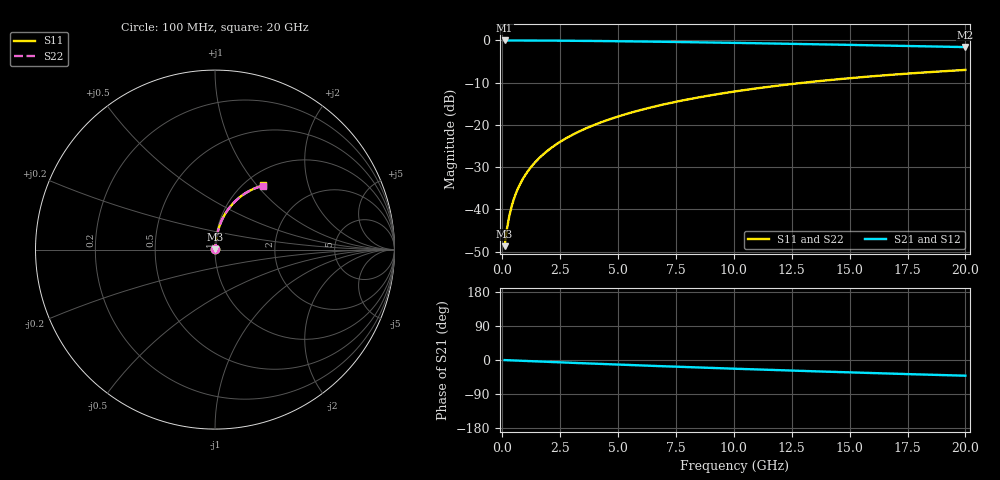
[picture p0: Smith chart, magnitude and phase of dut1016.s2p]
! Touchstone file exported from HFSS 2024.1.0
!  File:  C:/UserFiles/LocalFiles/RDL_TSV_Batchsim/temp_RDL_top_1016_1780043025.aedt
!  Generated:  04:26:18 PM May 29, 2026
!  Design:  RDL_top
!  Project:  temp_RDL_top_1016_1780043025
!  Setup:  Setup1
!  Solution:  Sweep
! Variables:
!  dtsv = 10.80580581um
!  hbump = 3um
!  htsv = 68.21um
!  ldown = 100um
!  lrdl = 534.45um
!  p = 40
!  p1 = 57.62um
!  rhole = 1um
!  t = 450um
!  tdown = 3.915915916um
!  trdl = 4.9um
!  wdown = 15.38538539um
!  wrdl = 15.62um
# GHz S MA R 50.000000
! Terminal data exported
! Port[1] = Box2_T1
! Port[2] = Box2_T2
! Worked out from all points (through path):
!   200 points, 100 MHz to 20 GHz, reference 50 ohm
!   highest |S21| = -0.02 dB at 100 MHz (marker M1); lowest = -1.6 dB at 20 GHz (marker M2)
!   group delay of S21, straight-line fit = 5.73 ps
!   lowest |S11| = -48.7 dB at 100 MHz (marker M3), VSWR 1.01, Z = 50.3 + j0.264 ohm
!   |S11| at or under -10 dB: start of sweep to 13.04 GHz
!   |S22| runs from -48.7 to -7.0 dB; largest |S21 - S12| = 6.7e-15
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0.1  0.003677 45.6  0.9974 -0.3  0.9974 -0.3  0.003677 45.6
! Gamma 0 0 0 0
! Port Impedance 50 0 50 0
0.2  0.00587 63.2  0.9973 -0.5  0.9973 -0.5  0.00587 63.2
0.3  0.008302 70.6  0.9972 -0.8  0.9972 -0.8  0.008302 70.6
0.4  0.01079 74.5  0.9971 -1.0  0.9971 -1.0  0.01079 74.5
0.5  0.01329 76.8  0.9969 -1.3  0.9969 -1.3  0.01329 76.8
0.7  0.01828 79.4  0.9966 -1.8  0.9966 -1.8  0.01828 79.4
0.8  0.02077 80.2  0.9964 -2.0  0.9964 -2.0  0.02077 80.2
1  0.02574 81.3  0.9961 -2.5  0.9961 -2.5  0.02574 81.3
1.2  0.03071 81.9  0.9956 -3.0  0.9956 -3.0  0.03071 81.9
1.4  0.03568 82.4  0.9952 -3.5  0.9952 -3.5  0.03568 82.4
1.7  0.04314 82.7  0.9943 -4.2  0.9943 -4.2  0.04314 82.7
2  0.05062 82.8  0.9933 -5.0  0.9933 -5.0  0.05063 82.8
2.7  0.06812 82.5  0.9905 -6.7  0.9905 -6.7  0.06812 82.5
3.5  0.08815 81.7  0.9864 -8.6  0.9864 -8.6  0.08815 81.7
4.2  0.1057 80.9  0.9823 -10.2  0.9823 -10.2  0.1057 80.9
5  0.1257 79.7  0.9769 -12.1  0.9769 -12.1  0.1257 79.7
6.8  0.1705 76.8  0.9631 -16.1  0.9631 -16.1  0.1705 76.7
8.4  0.2096 73.9  0.9493 -19.6  0.9493 -19.6  0.2096 73.9
10.1  0.2501 70.8  0.9335 -23.1  0.9335 -23.1  0.25 70.8
13.4  0.3238 64.6  0.9008 -29.7  0.9008 -29.7  0.3238 64.6
16.7  0.3897 58.6  0.8666 -35.8  0.8666 -35.8  0.3897 58.6
20  0.447 53.0  0.8323 -41.4  0.8323 -41.4  0.447 53.0
